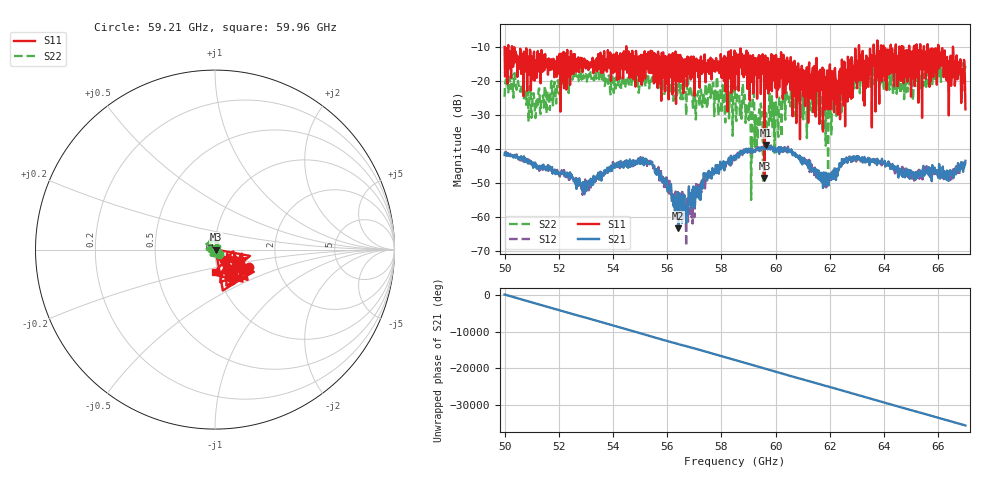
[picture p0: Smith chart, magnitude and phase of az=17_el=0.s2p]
!Created with skrf (http://scikit-rf.org).
# GHz S RI R 50.0
!freq ReS11 ImS11 ReS21 ImS21 ReS12 ImS12 ReS22 ImS22
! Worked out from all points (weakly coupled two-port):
!   1001 points, 50 GHz to 67 GHz, reference 50 ohm
!   highest |S21| = -38.81 dB at 59.66 GHz (marker M1); lowest = -63.3 dB at 56.41 GHz (marker M2)
!   lowest |S11| = -48.5 dB at 59.59 GHz (marker M3), VSWR 1.01, Z = 50.4 + j0.0537 ohm
!   |S11| at or under -10 dB: 50.27 GHz to 54.49 GHz (4.215 GHz wide, 8.05 % of centre); 54.49 GHz to 63.07 GHz (8.582 GHz wide, 14.6 % of centre); 63.08 GHz to 63.62 GHz (538.6 MHz wide, 0.85 % of centre) (the widest 3 of 22)
!   |S22| runs from -55.0 to -14.0 dB; largest |S21 - S12| = 0.0022
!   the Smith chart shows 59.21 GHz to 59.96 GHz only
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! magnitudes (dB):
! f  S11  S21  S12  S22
! 50 GHz  -10.0  -41.8  -41.6  -24.6
! 50.42 GHz  -14.1  -42.5  -42.2  -21.6
! 51.07 GHz  -12.0  -44.6  -44.6  -23.6
! 52.84 GHz  -14.2  -50.8  -51.8  -19.6
! 55.08 GHz  -12.3  -43.3  -43.6  -20.0
! 55.68 GHz  -13.3  -46.2  -45.3  -22.1
! 56.41 GHz  -20.0  -63.3  -58.0  -23.0
! 56.85 GHz  -17.7  -53.4  -59.5  -22.0
! 57.51 GHz  -13.8  -48.5  -47.7  -24.0
! 58.5 GHz  -22.6  -42.2  -42.0  -23.9
! 59.59 GHz  -48.5  -40.2  -40.0  -29.2
! 59.66 GHz  -14.4  -38.8  -39.5  -29.7
! 60.64 GHz  -14.5  -41.0  -41.2  -22.7
! 61.34 GHz  -25.0  -45.6  -45.6  -26.3
! 62 GHz  -15.1  -47.3  -49.7  -25.5
! 62.55 GHz  -14.9  -43.2  -43.5  -19.7
! 63.01 GHz  -22.1  -42.1  -42.6  -20.0
! 64.18 GHz  -18.0  -44.7  -44.9  -18.6
! 66.08 GHz  -15.2  -48.3  -46.9  -15.6
! 66.42 GHz  -15.7  -47.5  -46.6  -16.3
! 66.75 GHz  -17.8  -44.7  -46.4  -18.1
! 67 GHz  -28.3  -43.5  -43.9  -15.5
